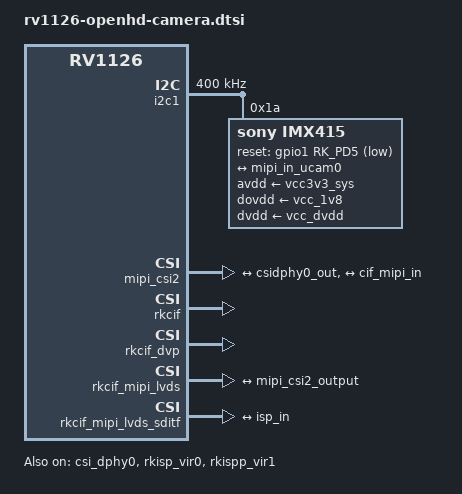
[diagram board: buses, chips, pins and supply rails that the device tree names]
// I moved all the camera-related stuff (How CSI0,CSI1 are set up and everything regarding the "pipeline" from camera to ISP into this file
// since I had/have to do a lot of changes here, and we might even want different "setups" where only the camera(s) change during development/releases


&csi_dphy0 {
	status = "okay";

	ports {
		#address-cells = <1>;
		#size-cells = <0>;
		port@0 {
			reg = <0>;
			#address-cells = <1>;
			#size-cells = <0>;

			mipi_in_ucam0: endpoint@1 {
				reg = <1>;
				remote-endpoint = <&ucam_out0>;
				data-lanes = <1 2 3 4>;
			};
		};
		port@1 {
			reg = <1>;
			#address-cells = <1>;
			#size-cells = <0>;

			csidphy0_out: endpoint@0 {
				reg = <0>;
				remote-endpoint = <&mipi_csi2_input>;
			};
		};
	};
};



/*&csi_dphy1 {
	status = "okay";
	ports {
		port@0 {
			csi_dphy1_input: endpoint@1 {
				remote-endpoint = <&ucam_out1>;
				data-lanes = <1 2>;
			};
		};
		port@1 {
			csi_dphy1_output: endpoint@0 {
				remote-endpoint = <&isp_virt1>;
			};
		};
	};
};*/


&i2c1 {
        status = "okay";
        clock-frequency = <400000>;

        imx415: imx415@1a {
                   compatible = "sony,imx415";
                   reg = <0x1a>;
                   clocks = <&cru CLK_MIPICSI_OUT>;
                   clock-names = "xvclk";
                   power-domains = <&power RV1126_PD_VI>;
                   pinctrl-names = "rockchip,camera_default";
                   pinctrl-0 = <&mipicsi_clk0>;
                   avdd-supply = <&vcc3v3_sys>;
                   dovdd-supply = <&vcc_1v8>;
                   dvdd-supply = <&vcc_dvdd>;
                   reset-gpios = <&gpio1 RK_PD5 GPIO_ACTIVE_LOW>;
                   rockchip,camera-module-index = <0>;
                   rockchip,camera-module-facing = "front";
                   rockchip,camera-module-name = "YT10092";
                   rockchip,camera-module-lens-name = "IR0147-28IRC-8M-F20";
                   ir-cut = <&cam_ircut0>;
                   port {
                                   ucam_out0: endpoint {
                                                   remote-endpoint = <&mipi_in_ucam0>;
                                                   data-lanes = <1 2 3 4>;
                                   };
                   };
        };

	        /*gc2053_2: gc2053_2@3f {
                compatible = "galaxycore,gc2053";
                reg = <0x3f>;
                clocks = <&cru CLK_MIPICSI_OUT>;
                clock-names = "xvclk";

                power-domains = <&power RV1126_PD_VI>;
                pinctrl-names = "rockchip,camera_default";
                pinctrl-0 = <&mipicsi_clk1>;

//              pwd-gpios = <&gpio3 RK_PA4 GPIO_ACTIVE_HIGH>;
//              reset-gpios = <&gpio2 RK_PA0 GPIO_ACTIVE_LOW>;
                rockchip,camera-module-index = <1>;
                rockchip,camera-module-facing = "front";
                rockchip,camera-module-name = "CMK-OT1726-PG1";
                rockchip,camera-module-lens-name = "29IR-2MP-F25";
//              ir-cut = <&cam_ircut0>;
                port {
                        ucam_out1: endpoint {
                                remote-endpoint = <&csi_dphy1_input>;
                                data-lanes = <1 2>;
                        };
                };
        };*/


};

// isp cma buffer don't fiddle with it, dual camera(1920 * 1080) need 92M buffer
// consti10: I am not sure if you need this one, but never tested removing it. Make sure here is enough though.
&isp_reserved {
	//size = <0x5c00000>;
	size = <0xb800000>;
};


&mipi_csi2 {
	status = "okay";

	ports {
		#address-cells = <1>;
		#size-cells = <0>;

		port@0 {
			reg = <0>;
			#address-cells = <1>;
			#size-cells = <0>;

			mipi_csi2_input: endpoint@1 {
				reg = <1>;
				remote-endpoint = <&csidphy0_out>;
				data-lanes = <1 2 3 4>;
			};
		};

		port@1 {
			reg = <1>;
			#address-cells = <1>;
			#size-cells = <0>;

			mipi_csi2_output: endpoint@0 {
				reg = <0>;
				remote-endpoint = <&cif_mipi_in>;
				data-lanes = <1 2 3 4>;
			};
		};
	};
};


&rkcif {
	status = "okay";
};

&rkcif_mmu {
	status = "disabled";
};

&rkcif_dvp {
	status = "okay";

	port {
		/* Parallel bus endpoint */
		/*
		cif_para_in: endpoint {
			remote-endpoint = <&cam_para_out1>;
			bus-width = <12>;
			hsync-active = <1>;
			vsync-active = <0>;
		};
		*/
	};
};
&rkcif_mipi_lvds {
	status = "okay";
	port {
		/* MIPI CSI-2 endpoint */
		// Consti10: I think here ends this crap ?
		cif_mipi_in: endpoint {
			remote-endpoint = <&mipi_csi2_output>;
			data-lanes = <1 2 3 4>;
		};
	};
};

&rkcif_mipi_lvds_sditf {
	status = "okay";

	port {
		/* MIPI CSI-2 endpoint */
		mipi_lvds_sditf: endpoint {
			remote-endpoint = <&isp_in>;
			data-lanes = <1 2 3 4>;
		};
	};
};


&rkisp_vir0 {
	status = "okay";

	ports {
		port@0 {
			reg = <0>;
			#address-cells = <1>;
			#size-cells = <0>;

			isp_in: endpoint@0 {
				reg = <0>;
				remote-endpoint = <&mipi_lvds_sditf>;
			};
		};
	};
};

/*&rkisp_vir1 {
	status = "okay";
	ports {
		port@0 {
			isp_virt1: endpoint@0 {
				remote-endpoint = <&csi_dphy1_output>;
			};
		};
	};
};*/



&rkispp_vir1 {
	status = "okay";
};

/*&rkispp {
	status = "okay";
	//the max input w h and fps of mulit sensor - not sure why they write that here
	//max-input = <1920 1080 30>;
	max-input = <3840 2160 30>;
};*/
